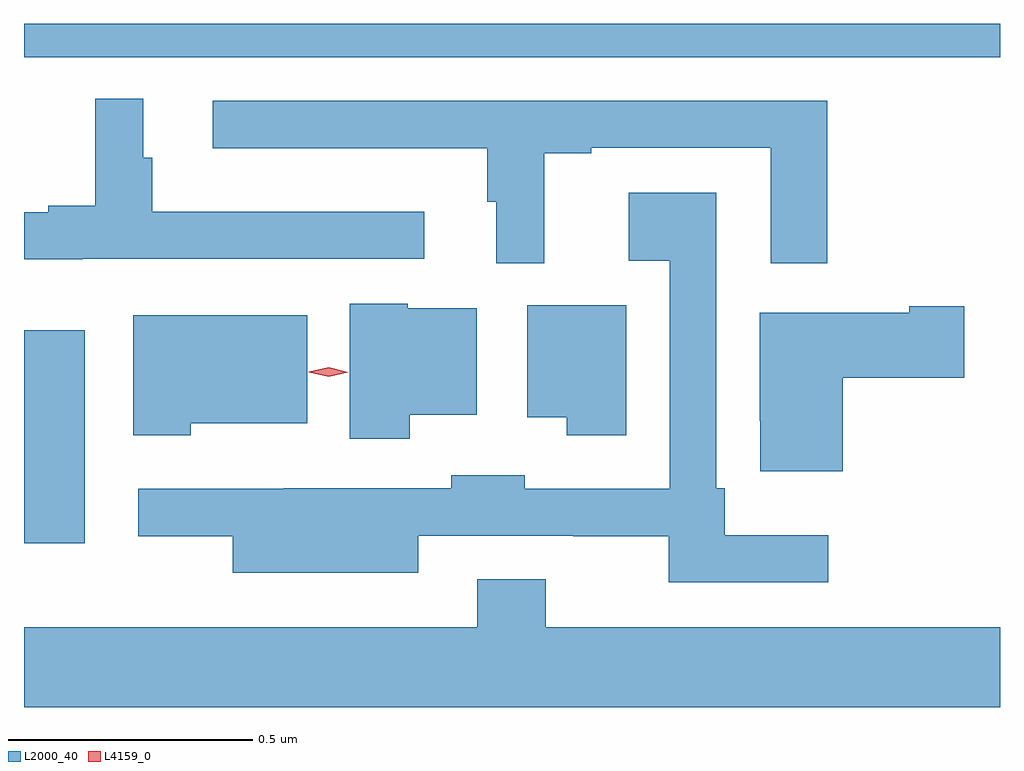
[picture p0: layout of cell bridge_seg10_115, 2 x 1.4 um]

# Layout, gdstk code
import gdstk
lib = gdstk.Library(unit=1e-6, precision=1e-09)
def R(c, l, rs):  # rectangles x0, y0, x1, y1
    for r in rs: c.add(gdstk.rectangle(r[:2], r[2:], *l))
def P(c, l, *ps):  # polygons
    for p in ps: c.add(gdstk.Polygon(p, *l))
L2000_40 = (2000, 40)
L4159_0 = (4159, 0)

bridge_seg10_115 = lib.new_cell('bridge_seg10_115')
R(bridge_seg10_115, L2000_40, [(443.526,1256.696,443.65,1257.133), (443.526,1257.692,445.526,1257.761)])
P(bridge_seg10_115, L2000_40, [(443.646,1257.279),(444.346,1257.279),(444.346,1257.376),(443.789,1257.376),(443.789,1257.486),(443.77,1257.486),(443.77,1257.607),(443.672,1257.607),(443.672,1257.388),(443.576,1257.388),(443.576,1257.375),(443.526,1257.375),(443.526,1257.278),(443.646,1257.278)],
  [(444.592,1257.495),(444.688,1257.495),(444.688,1257.507),(445.056,1257.507),(445.056,1257.27),(445.172,1257.27),(445.172,1257.603),(443.913,1257.603),(443.913,1257.506),(444.475,1257.506),(444.475,1257.396),(444.494,1257.396),(444.494,1257.27),(444.592,1257.27)],
  [(445.174,1256.713),(444.962,1256.713),(444.962,1256.809),(444.945,1256.809),(444.945,1257.415),(444.765,1257.415),(444.765,1257.275),(444.849,1257.275),(444.849,1256.808),(444.552,1256.808),(444.552,1256.836),(444.402,1256.836),(444.402,1256.809),(444.058,1256.809),(444.058,1256.808),(443.76,1256.808),(443.76,1256.711),(443.954,1256.711),(443.954,1256.636),(444.334,1256.636),(444.334,1256.712),(444.652,1256.712),(444.652,1256.711),(444.847,1256.711),(444.847,1256.616),(445.174,1256.616)],
  [(444.316,1256.96),(444.454,1256.96),(444.454,1257.178),(444.312,1257.178),(444.312,1257.187),(444.194,1257.187),(444.194,1256.91),(444.316,1256.91)],
  [(444.76,1257.184),(444.557,1257.184),(444.557,1256.954),(444.638,1256.954),(444.638,1256.918),(444.76,1256.918)],
  [(445.204,1257.035),(445.453,1257.035),(445.453,1257.182),(445.34,1257.182),(445.34,1257.169),(445.034,1257.169),(445.034,1256.947),(445.035,1256.947),(445.035,1256.844),(445.204,1256.844)],
  [(443.868,1256.942),(444.106,1256.942),(444.106,1257.163),(443.75,1257.163),(443.75,1256.918),(443.868,1256.918)],
  [(445.526,1256.524),(444.595,1256.524),(444.595,1256.623),(444.455,1256.623),(444.455,1256.524),(443.526,1256.524),(443.526,1256.36),(445.526,1256.36)])
P(bridge_seg10_115, L4159_0, [(444.15,1257.037),(444.11,1257.047),(444.11,1257.048),(444.11,1257.048),(444.15,1257.057),(444.19,1257.047),(444.19,1257.047),(444.19,1257.047)])

lib.write_gds('bridge_seg10_115.gds')
